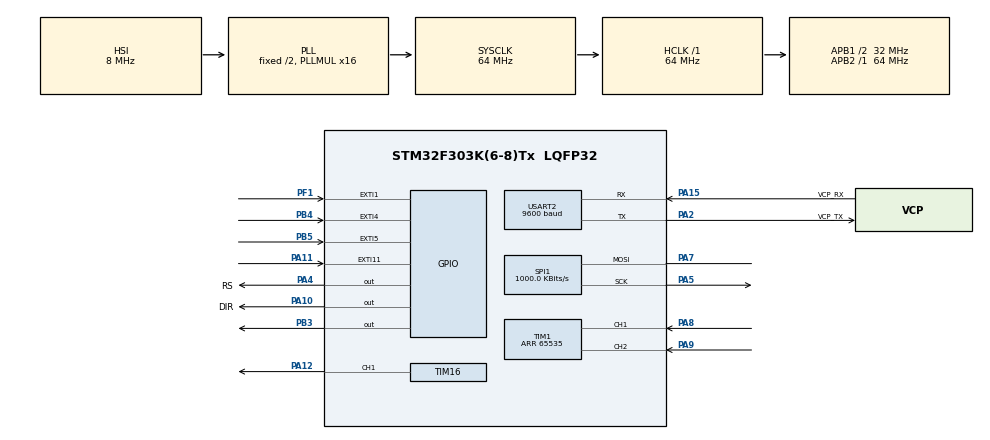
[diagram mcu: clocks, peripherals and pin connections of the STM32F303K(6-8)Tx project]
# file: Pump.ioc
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Mcu.Family=STM32F3
Mcu.Name=STM32F303K(6-8)Tx
Mcu.Package=LQFP32
NVIC.EXTI15_10_IRQn=true\:0\:0\:false\:false\:true\:true
NVIC.EXTI1_IRQn=true\:0\:0\:false\:false\:true\:true
NVIC.EXTI4_IRQn=true\:0\:0\:false\:false\:true\:true
NVIC.EXTI9_5_IRQn=true\:0\:0\:false\:false\:true\:true
NVIC.PriorityGroup=NVIC_PRIORITYGROUP_4
NVIC.TIM1_BRK_TIM15_IRQn=true\:0\:0\:false\:false\:true\:true
NVIC.TIM1_TRG_COM_TIM17_IRQn=true\:0\:0\:false\:false\:true\:true
NVIC.TIM2_IRQn=true\:0\:0\:false\:false\:true\:true
NVIC.TIM3_IRQn=true\:0\:0\:false\:false\:true\:true
PA10.GPIO_Label=DIR
PA10.GPIO_ModeDefaultOutputPP=GPIO_MODE_OUTPUT_PP
PA10.GPIO_PuPd=GPIO_PULLDOWN
PA10.GPIO_Speed=GPIO_SPEED_FREQ_HIGH
PA10.PinState=GPIO_PIN_RESET
PA10.Signal=GPIO_Output
PA11.GPIO_ModeDefaultEXTI=GPIO_MODE_IT_FALLING
PA11.GPIO_PuPd=GPIO_PULLUP
PA11.Signal=GPXTI11
PA12.GPIO_Speed=GPIO_SPEED_FREQ_HIGH
PA12.Signal=S_TIM16_CH1
PA13.GPIO_Label=SWDIO
PA13.Mode=Serial_Wire
PA13.Signal=SYS_JTMS-SWDIO
PA14.GPIO_Label=SWCLK
PA14.Mode=Serial_Wire
PA14.Signal=SYS_JTCK-SWCLK
PA15.GPIO_Label=VCP_RX
PA15.Mode=Asynchronous
PA15.Signal=USART2_RX
PA2.GPIO_Label=VCP_TX
PA2.Mode=Asynchronous
PA2.Signal=USART2_TX
PA4.GPIO_Label=RS
PA4.GPIO_Speed=GPIO_SPEED_FREQ_HIGH
PA4.Signal=GPIO_Output
PA5.GPIO_PuPd=GPIO_PULLUP
PA5.GPIO_Speed=GPIO_SPEED_FREQ_HIGH
PA5.Mode=Simplex_Bidirectional_Master
PA5.Signal=SPI1_SCK
PA7.GPIO_PuPd=GPIO_PULLUP
PA7.Mode=Simplex_Bidirectional_Master
PA7.Signal=SPI1_MOSI
PA8.Signal=S_TIM1_CH1
PA9.Signal=S_TIM1_CH2
PB3.GPIO_Speed=GPIO_SPEED_FREQ_HIGH
PB3.Signal=GPIO_Output
PB4.GPIO_ModeDefaultEXTI=GPIO_MODE_IT_RISING_FALLING
PB4.GPIO_PuPd=GPIO_PULLUP
PB4.Signal=GPXTI4
PB5.GPIO_ModeDefaultEXTI=GPIO_MODE_IT_RISING_FALLING
PB5.GPIO_PuPd=GPIO_PULLUP
PB5.Signal=GPXTI5
PF0\ /\ OSC_IN.GPIO_Label=MCO
PF0\ /\ OSC_IN.Signal=RCC_OSC_IN
PF1\ /\ OSC_OUT.GPIO_ModeDefaultEXTI=GPIO_MODE_IT_FALLING
PF1\ /\ OSC_OUT.GPIO_PuPd=GPIO_PULLUP
PF1\ /\ OSC_OUT.Signal=GPXTI1
ProjectManager.HeapSize=0x200
ProjectManager.StackSize=0x400
ProjectManager.TargetToolchain=MDK-ARM V5
RCC.AHBFreq_Value=64000000
RCC.APB1CLKDivider=RCC_HCLK_DIV2
RCC.APB1Freq_Value=32000000
RCC.APB1TimFreq_Value=64000000
RCC.APB2Freq_Value=64000000
RCC.APB2TimFreq_Value=64000000
RCC.CortexFreq_Value=64000000
RCC.HCLKFreq_Value=64000000
RCC.HSE_VALUE=8000000
RCC.HSI_VALUE=8000000
RCC.PLLMUL=RCC_PLL_MUL16
RCC.SYSCLKFreq_VALUE=64000000
RCC.SYSCLKSourceVirtual=RCC_SYSCLKSOURCE_PLLCLK
SH.S_TIM16_CH1.0=TIM16_CH1,PWM Generation1 CH1
SH.S_TIM1_CH1.0=TIM1_CH1,Encoder_Interface
SH.S_TIM1_CH2.0=TIM1_CH2,Encoder_Interface
SPI1.BaudRatePrescaler=SPI_BAUDRATEPRESCALER_64
SPI1.CalculateBaudRate=1000.0 KBits/s
SPI1.DataSize=SPI_DATASIZE_8BIT
SPI1.Direction=SPI_DIRECTION_1LINE
SPI1.Mode=SPI_MODE_MASTER
SPI1.VirtualType=VM_MASTER
TIM1.EncoderMode=TIM_ENCODERMODE_TI12
TIM1.IC1Filter=15
TIM1.IC2Filter=15
TIM1.Period=65535
TIM15.Period=799
TIM15.Prescaler=63999
TIM16.Channel=TIM_CHANNEL_1
TIM16.Period=2047
TIM17.Period=199
TIM17.Prescaler=63999
TIM2.Period=9999
TIM2.Prescaler=63
TIM3.Period=9999
TIM3.Prescaler=63
USART2.BaudRate=9600
USART2.VirtualMode-Asynchronous=VM_ASYNC
VP_TIM15_VS_ClockSourceINT.Mode=Internal
VP_TIM16_VS_ClockSourceINT.Mode=Enable_Timer
VP_TIM17_VS_ClockSourceINT.Mode=Enable_Timer
VP_TIM2_VS_ClockSourceINT.Mode=Internal
VP_TIM3_VS_ClockSourceINT.Mode=Internal
board=NUCLEO-F303K8

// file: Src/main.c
/**
  ******************************************************************************
  * @file           : main.c
  * @brief          : Main program body
  ******************************************************************************
  ** This notice applies to any and all portions of this file
  * that are not between comment pairs USER CODE BEGIN and
  * USER CODE END. Other portions of this file, whether
  * inserted by the user or by software development tools
  * are owned by their respective copyright owners.
  *
  * COPYRIGHT(c) 2018 STMicroelectronics
  *
  * Redistribution and use in source and binary forms, with or without modification,
  * are permitted provided that the following conditions are met:
  *   1. Redistributions of source code must retain the above copyright notice,
  *      this list of conditions and the following disclaimer.
  *   2. Redistributions in binary form must reproduce the above copyright notice,
  *      this list of conditions and the following disclaimer in the documentation
  *      and/or other materials provided with the distribution.
  *   3. Neither the name of STMicroelectronics nor the names of its contributors
  *      may be used to endorse or promote products derived from this software
  *      without specific prior written permission.
  *
  * THIS SOFTWARE IS PROVIDED BY THE COPYRIGHT HOLDERS AND CONTRIBUTORS "AS IS"
  * AND ANY EXPRESS OR IMPLIED WARRANTIES, INCLUDING, BUT NOT LIMITED TO, THE
  * IMPLIED WARRANTIES OF MERCHANTABILITY AND FITNESS FOR A PARTICULAR PURPOSE ARE
  * DISCLAIMED. IN NO EVENT SHALL THE COPYRIGHT HOLDER OR CONTRIBUTORS BE LIABLE
  * FOR ANY DIRECT, INDIRECT, INCIDENTAL, SPECIAL, EXEMPLARY, OR CONSEQUENTIAL
  * DAMAGES (INCLUDING, BUT NOT LIMITED TO, PROCUREMENT OF SUBSTITUTE GOODS OR
  * SERVICES; LOSS OF USE, DATA, OR PROFITS; OR BUSINESS INTERRUPTION) HOWEVER
  * CAUSED AND ON ANY THEORY OF LIABILITY, WHETHER IN CONTRACT, STRICT LIABILITY,
  * OR TORT (INCLUDING NEGLIGENCE OR OTHERWISE) ARISING IN ANY WAY OUT OF THE USE
  * OF THIS SOFTWARE, EVEN IF ADVISED OF THE POSSIBILITY OF SUCH DAMAGE.
  *
  ******************************************************************************
  */
#include "main.h"
#include "stm32f3xx_hal.h"

/* USER CODE BEGIN Includes */
#include <stdlib.h>
#include <string.h>
#include "LCD.h"
#include "dwt_stm32_delay.h"
#include <stdbool.h>

/* USER CODE END Includes */

SPI_HandleTypeDef hspi1;

TIM_HandleTypeDef htim1;
TIM_HandleTypeDef htim2;
TIM_HandleTypeDef htim3;
TIM_HandleTypeDef htim15;
TIM_HandleTypeDef htim16;
TIM_HandleTypeDef htim17;

UART_HandleTypeDef huart2;

/* USER CODE BEGIN PV */
/* Private variables ---------------------------------------------------------*/
#define encodingType 4.0f //Quadrature Encoding
#define encoderPulsePerRev 100.0f
#define RPMCalculationFreq 100.0f

#define refRpmLowerThreshold 0.0f
#define refRpmUpperThreshold 10000.0f
#define refRpmResolution 100.0f

#define voltageLowerThreshold 0.0f
#define voltageUpperThreshold 24.0f
#define voltageResolution 0.1f

#define pwmResolution 2048

#define debounceMillis 200

LCD * lcd;

/*******************************************************************************
    RPM Resolution per encoder tick
        (Encoder tick/sec) to RPM

                        60sec * (Frequency of RPM calculation timer)
    RPM_res_per_tick = ----------------------------------------------
                        Encoder Resolution * Encoder Reading Mode(x4)
*******************************************************************************/
#define RPM_res_per_tick (60.0f * RPMCalculationFreq) / (encoderPulsePerRev * encodingType)

// RPM Calculation
volatile int16_t prevEncoderCount = 0;
volatile float motorRPM = 0.0f;

//Moving Average for RPM smoothing
volatile float averagedMotorRpm = 0.0f;
volatile float alpha = 0.128f;

// Voltage Control
volatile float voltage = 0.0f;

// PI Control
volatile float Kp = 0.02f;
volatile float Ki = 0.01f;
volatile float integral = 0.0f;
volatile float integralMin = -2000.0f;
volatile float integralMax = 2000.0f;

volatile float refRpm = 0.0f;

//Flow Rate
volatile float flowRate = 0.0f;

//Display Selection
volatile float displayedRefRpm = 0.0f;
volatile float displayedVoltage = 0.0f;

// Rotary Knob
volatile uint8_t prevState = 0;
volatile int16_t cycleCount = 0;

//Debouncing
uint32_t currentMillis = 0;
uint32_t prevMillis = 0;

int pwm = 0;

const int cw[4] = {
			  2, // 10 -> 11
			  0, // 00 -> 10
			  3, // 11 -> 01
			  1  // 01 -> 00
			};

const int ccw[4] = {
			  1, // 01 -> 11
			  3, // 11 -> 10
			  0, // 00 -> 01
			  2  // 10 -> 00
			};

// Screen Menu Button Track - Select and Deselect
uint8_t selected = false;

// Underline of "Ref RPM"
uint8_t underlineHighlighted = false;

// Menu
enum menu{
	Logo,
	ControlSelection,
	RpmControl,
	VoltageControl,
	About
};

enum menu menuSelection = Logo;

/* USER CODE END PV */

void SystemClock_Config(void);
static void MX_GPIO_Init(void);
static void MX_USART2_UART_Init(void);
static void MX_TIM1_Init(void);
static void MX_TIM16_Init(void);
static void MX_TIM2_Init(void);
static void MX_SPI1_Init(void);
static void MX_TIM17_Init(void);
static void MX_TIM15_Init(void);
static void MX_TIM3_Init(void);

void HAL_TIM_MspPostInit(TIM_HandleTypeDef *htim);

/* USER CODE BEGIN PFP */
/* Private function prototypes -----------------------------------------------*/

/* USER CODE END PFP */

/* USER CODE BEGIN 0 */

void applyPWM(int16_t pwmValue){
	pwm = pwmValue;
	//Forward
	if(pwmValue > 0){
		if(pwmValue > pwmResolution)
			pwmValue = pwmResolution;
		HAL_GPIO_WritePin(GPIOA, GPIO_PIN_10, GPIO_PIN_RESET);
	}
	//Backward
	else{
		if(pwmValue < -pwmResolution)
			pwmValue = -pwmResolution;
		HAL_GPIO_WritePin(GPIOA, GPIO_PIN_10, GPIO_PIN_SET);
	}
	pwmValue = abs(pwmValue);
	__HAL_TIM_SET_COMPARE(&htim16, TIM_CHANNEL_1, pwmValue);
}

// Increase Displayed Reference RPM
void incrementDisplayedRefRPM(void){
	if(displayedRefRpm < refRpmUpperThreshold)
		displayedRefRpm += refRpmResolution;
}

// Decrease Displayed Reference RPM
void decreaseDisplayedRefRPM(void){
	if(refRpmLowerThreshold < displayedRefRpm)
		displayedRefRpm -= refRpmResolution;
}

// Increase Displayed Voltage
void incrementDisplayedVoltage(void){
	if(displayedVoltage < voltageUpperThreshold)
		displayedVoltage += voltageResolution;
}

// Decrease Displayed Voltage
void decreaseDisplayedVoltage(void){
	if(voltageLowerThreshold < displayedVoltage)
		displayedVoltage -= voltageResolution;
}

//Count the Digits before .
uint8_t digitsInFloat(unsigned char * f){
	uint8_t i = 0;
	uint8_t digitCount = 0;
	while(f[i++] != '.'){
		digitCount++;
	}
	return digitCount;
}

//Refresh Numbers on the screen
void refreshScreen(void){
	//Clear Second Row - Fill with Spaces
	DisplayStringLeftAlligned(lcd,1,0, (unsigned char *)"                ", strlen("                "));
	//Clear Fourth Rows First Half - Fill with Spaces
	DisplayStringLeftAlligned(lcd,3,0, (unsigned char *)"        ", strlen("        "));

	unsigned char * array = malloc(16);

	if(menuSelection == RpmControl){
		if(selected == true)
			sprintf((char *)array, "%.1f", displayedRefRpm);
		else if(selected == false)
			sprintf((char *)array, "%.1f", refRpm);
	}
	else if(menuSelection == VoltageControl){
		if(selected == true){
			sprintf((char *)array, "%.1f", displayedVoltage);
		}
		else if(selected == false){
			sprintf((char *)array, "%.1f", voltage);
		}
	}

	uint8_t digitCount = digitsInFloat(array);

	// Display Reference RPM
	DisplayStringRightAlligned(lcd,1,6, array, digitsInFloat(array)+2);

	free(array);

	// RPM
	unsigned char * rpmStr = malloc(16); //16 digits max
	sprintf((char *)rpmStr, "%.1f", averagedMotorRpm);
	DisplayStringRightAlligned(lcd,1,15, rpmStr, digitsInFloat(rpmStr)+2);
	free(rpmStr);

	// Flow Rate
	unsigned char * flowRateStr = malloc(16);
	sprintf((char *)flowRateStr, "%.1f", flowRate);
	DisplayStringRightAlligned(lcd,3,7, flowRateStr, digitsInFloat(flowRateStr)+2);
	free(flowRateStr);
}

// Display underline of Ref RPM
void underlineHighlight(void){
	WriteInstruction(lcd, SET_GRAPHIC_RAM_ADDRESS | 29);
	WriteInstruction(lcd, 0x80);
	WriteRam(lcd, 0x7F);
	WriteRam(lcd, 0xFF);
	WriteRam(lcd, 0xFF);
	WriteRam(lcd, 0xFF);
	WriteRam(lcd, 0xFF);
	WriteRam(lcd, 0xFF);
	WriteRam(lcd, 0xFF);
}

// Hide underline of Ref RPM
void underlineLowlight(void){
	WriteInstruction(lcd, SET_GRAPHIC_RAM_ADDRESS | 29);
	WriteInstruction(lcd, 0x80);
	WriteRam(lcd, 0x00);
	WriteRam(lcd, 0x00);
	WriteRam(lcd, 0x00);
	WriteRam(lcd, 0x00);
	WriteRam(lcd, 0x00);
	WriteRam(lcd, 0x00);
	WriteRam(lcd, 0x00);
}

// Display Logo

// Display ControlSelection
uint8_t menuIndex = 0;

void menuControlSelection(void){
	menuSelection = ControlSelection;

	SetTextMode(lcd);
	ClearScreen(lcd);

	SetGraphicsMode(lcd);
	ClearGDRAM(lcd);

	for(uint8_t y = 0; y < 15; y++){
		for (uint8_t x = 0; x < 8; x++) {
			WriteInstruction(lcd, SET_GRAPHIC_RAM_ADDRESS | y);
			WriteInstruction(lcd, 0x80 | x);
			WriteRam(lcd, 0xFF);
			WriteRam(lcd, 0xFF);
		}
	}

	menuIndex = 1;
	HighlightMenuItem(lcd,menuIndex,true);

	SetTextMode(lcd);
	//ClearScreen(lcd);

	DisplayStringLeftAlligned(lcd,0,1, (unsigned char *)"MOTION MANAGER", strlen("MOTION MANAGER"));
	DisplayStringLeftAlligned(lcd,1,1, (unsigned char *)"RPM Control", strlen("RPM Control"));
	DisplayStringLeftAlligned(lcd,2,1, (unsigned char *)"Voltage Control", strlen("Voltage Control"));
	DisplayStringLeftAlligned(lcd,3,1, (unsigned char *)"About", strlen("About"));
}

void menuRpmControl(void){
	SetTextMode(lcd);
	ClearScreen(lcd);

	//TIM1 - Encoder
	HAL_TIM_Encoder_Start(&htim1, TIM_CHANNEL_ALL);

	//TIM2 - Velocity Calculation Interrupt
	HAL_TIM_Base_Start_IT(&htim2);

	//TIM16 - PWM
	HAL_TIM_PWM_Start(&htim16, TIM_CHANNEL_1);

	// Topic Background
	SetGraphicsMode(lcd);
	ClearGDRAM(lcd);

	DivideHalfInverseT(lcd);
	HighlightTopLeftText(lcd);
	HighlightTopRightText(lcd);
	HighlightBottomText(lcd);

	// Topics
	SetTextMode(lcd);

	DisplayStringLeftAlligned(lcd,0,0, (unsigned char *)"Ref RPM", strlen("Ref RPM"));
	DisplayStringLeftAlligned(lcd,0,9, (unsigned char *)"RPM", strlen("RPM"));
	DisplayStringLeftAlligned(lcd,2,0, (unsigned char *)"Flow Rate", strlen("Flow Rate"));
	DisplayStringRightAlligned(lcd,3,14, (unsigned char *)"ml/min", strlen("ml/min"));

	//TIM17 - Screen Refresh Rate - 64Mhz / 64000 / 99 = 10Hz
	HAL_TIM_Base_Start_IT(&htim17);
}

void menuVoltageControl(void){
	SetTextMode(lcd);
	ClearScreen(lcd);

	//TIM1 - Encoder
	HAL_TIM_Encoder_Start(&htim1, TIM_CHANNEL_ALL);

	//TIM2 - Velocity Calculation Interrupt
	HAL_TIM_Base_Start_IT(&htim2);

	//TIM16 - PWM
	HAL_TIM_PWM_Start(&htim16, TIM_CHANNEL_1);

	// Topic Background
	SetGraphicsMode(lcd);
	ClearGDRAM(lcd);

	DivideHalfInverseT(lcd);
	HighlightTopLeftText(lcd);
	HighlightTopRightText(lcd);
	HighlightBottomText(lcd);

	// Topics
	SetTextMode(lcd);

	DisplayStringLeftAlligned(lcd,0,0, (unsigned char *)"Voltage", strlen("Voltage"));
	DisplayStringLeftAlligned(lcd,0,9, (unsigned char *)"RPM", strlen("RPM"));
	DisplayStringLeftAlligned(lcd,2,0, (unsigned char *)"Flow Rate", strlen("Flow Rate"));
	DisplayStringRightAlligned(lcd,3,14, (unsigned char *)"ml/min", strlen("ml/min"));

	//TIM17 - Screen Refresh Rate - 64Mhz / 64000 / 99 = 10Hz
	HAL_TIM_Base_Start_IT(&htim17);
}

void menuAbout(){
	SetTextMode(lcd);
	ClearScreen(lcd);

	SetGraphicsMode(lcd);
	ClearGDRAM(lcd);

	SetTextMode(lcd);
	DisplayStringLeftAlligned(lcd,0,0, (unsigned char *)"info@", strlen("info@"));
	DisplayStringLeftAlligned(lcd,1,0, (unsigned char *)"kopernikrobotics", strlen("KopernikRobotics"));
	DisplayStringRightAlligned(lcd,2,15, (unsigned char *)".com", strlen(".com"));
	DisplayStringLeftAlligned(lcd,3,0, (unsigned char *)"v1.0.0", strlen("v1.0.0"));
}

void setVoltage(){
	pwm = (((float)voltage)/((float)voltageUpperThreshold)) * ((float)pwmResolution);
	__HAL_TIM_SET_COMPARE(&htim16, TIM_CHANNEL_1, (int)pwm);
}

/* USER CODE END 0 */

int main(void)
{

  /* MCU Configuration----------------------------------------------------------*/

  /* Reset of all peripherals, Initializes the Flash interface and the Systick. */
  HAL_Init();

  /* Configure the system clock */
  SystemClock_Config();

  /* Initialize all configured peripherals */
  MX_GPIO_Init();
  MX_USART2_UART_Init();
  MX_TIM1_Init();
  MX_TIM16_Init();
  MX_TIM2_Init();
  MX_SPI1_Init();
  MX_TIM17_Init();
  MX_TIM15_Init();
  MX_TIM3_Init();
  /* USER CODE BEGIN 2 */

	DWT_Delay_Init();

	//TIM1 - Encoder
	//HAL_TIM_Encoder_Start(&htim1, TIM_CHANNEL_ALL);

	//TIM16 - PWM
	//HAL_TIM_PWM_Start(&htim16, TIM_CHANNEL_1);

	// LCD
	// For a minimal system with only one ST7920 and one MPU, only SCLK and SID pins are necessary.
	// CS pin should pull to high.
	HAL_GPIO_WritePin(GPIOA, GPIO_PIN_4, GPIO_PIN_SET);

	lcd = (struct LCD *)malloc(sizeof(struct LCD));

	InitLcdSPI(lcd, &hspi1);

	InitDisplay(lcd);

	menuControlSelection();

	__HAL_TIM_SET_COMPARE(&htim16, TIM_CHANNEL_1, 0);

  /* USER CODE END 2 */

  /* Infinite loop */
  while (1)
  {

  /* USER CODE BEGIN 3 */
		//HAL_GPIO_TogglePin(GPIOB, GPIO_PIN_3);
		//HAL_Delay(100);

  }
  /* USER CODE END 3 */

}

void SystemClock_Config(void)
{

  RCC_OscInitTypeDef RCC_OscInitStruct;
  RCC_ClkInitTypeDef RCC_ClkInitStruct;
  RCC_PeriphCLKInitTypeDef PeriphClkInit;

    /**Initializes the CPU, AHB and APB busses clocks
    */
  RCC_OscInitStruct.OscillatorType = RCC_OSCILLATORTYPE_HSI;
  RCC_OscInitStruct.HSIState = RCC_HSI_ON;
  RCC_OscInitStruct.HSICalibrationValue = 16;
  RCC_OscInitStruct.PLL.PLLState = RCC_PLL_ON;
  RCC_OscInitStruct.PLL.PLLSource = RCC_PLLSOURCE_HSI;
  RCC_OscInitStruct.PLL.PLLMUL = RCC_PLL_MUL16;
  if (HAL_RCC_OscConfig(&RCC_OscInitStruct) != HAL_OK)
  {
    _Error_Handler(__FILE__, __LINE__);
  }

    /**Initializes the CPU, AHB and APB busses clocks
    */
  RCC_ClkInitStruct.ClockType = RCC_CLOCKTYPE_HCLK|RCC_CLOCKTYPE_SYSCLK
                              |RCC_CLOCKTYPE_PCLK1|RCC_CLOCKTYPE_PCLK2;
  RCC_ClkInitStruct.SYSCLKSource = RCC_SYSCLKSOURCE_PLLCLK;
  RCC_ClkInitStruct.AHBCLKDivider = RCC_SYSCLK_DIV1;
  RCC_ClkInitStruct.APB1CLKDivider = RCC_HCLK_DIV2;
  RCC_ClkInitStruct.APB2CLKDivider = RCC_HCLK_DIV1;

  if (HAL_RCC_ClockConfig(&RCC_ClkInitStruct, FLASH_LATENCY_2) != HAL_OK)
  {
    _Error_Handler(__FILE__, __LINE__);
  }

  PeriphClkInit.PeriphClockSelection = RCC_PERIPHCLK_TIM1;
  PeriphClkInit.Tim1ClockSelection = RCC_TIM1CLK_HCLK;
  if (HAL_RCCEx_PeriphCLKConfig(&PeriphClkInit) != HAL_OK)
  {
    _Error_Handler(__FILE__, __LINE__);
  }

    /**Configure the Systick interrupt time
    */
  HAL_SYSTICK_Config(HAL_RCC_GetHCLKFreq()/1000);

    /**Configure the Systick
    */
  HAL_SYSTICK_CLKSourceConfig(SYSTICK_CLKSOURCE_HCLK);

  /* SysTick_IRQn interrupt configuration */
  HAL_NVIC_SetPriority(SysTick_IRQn, 0, 0);
}

/* SPI1 init function */
static void MX_SPI1_Init(void)
{

  /* SPI1 parameter configuration*/
  hspi1.Instance = SPI1;
  hspi1.Init.Mode = SPI_MODE_MASTER;
  hspi1.Init.Direction = SPI_DIRECTION_1LINE;
  hspi1.Init.DataSize = SPI_DATASIZE_8BIT;
  hspi1.Init.CLKPolarity = SPI_POLARITY_LOW;
  hspi1.Init.CLKPhase = SPI_PHASE_1EDGE;
  hspi1.Init.NSS = SPI_NSS_SOFT;
  hspi1.Init.BaudRatePrescaler = SPI_BAUDRATEPRESCALER_64;
  hspi1.Init.FirstBit = SPI_FIRSTBIT_MSB;
  hspi1.Init.TIMode = SPI_TIMODE_DISABLE;
  hspi1.Init.CRCCalculation = SPI_CRCCALCULATION_DISABLE;
  hspi1.Init.CRCPolynomial = 7;
  hspi1.Init.CRCLength = SPI_CRC_LENGTH_DATASIZE;
  hspi1.Init.NSSPMode = SPI_NSS_PULSE_ENABLE;
  if (HAL_SPI_Init(&hspi1) != HAL_OK)
  {
    _Error_Handler(__FILE__, __LINE__);
  }

}

/* TIM1 init function */
static void MX_TIM1_Init(void)
{

  TIM_Encoder_InitTypeDef sConfig;
  TIM_MasterConfigTypeDef sMasterConfig;

  htim1.Instance = TIM1;
  htim1.Init.Prescaler = 0;
  htim1.Init.CounterMode = TIM_COUNTERMODE_UP;
  htim1.Init.Period = 65535;
  htim1.Init.ClockDivision = TIM_CLOCKDIVISION_DIV1;
  htim1.Init.RepetitionCounter = 0;
  htim1.Init.AutoReloadPreload = TIM_AUTORELOAD_PRELOAD_DISABLE;
  sConfig.EncoderMode = TIM_ENCODERMODE_TI12;
  sConfig.IC1Polarity = TIM_ICPOLARITY_RISING;
  sConfig.IC1Selection = TIM_ICSELECTION_DIRECTTI;
  sConfig.IC1Prescaler = TIM_ICPSC_DIV1;
  sConfig.IC1Filter = 15;
  sConfig.IC2Polarity = TIM_ICPOLARITY_RISING;
  sConfig.IC2Selection = TIM_ICSELECTION_DIRECTTI;
  sConfig.IC2Prescaler = TIM_ICPSC_DIV1;
  sConfig.IC2Filter = 15;
  if (HAL_TIM_Encoder_Init(&htim1, &sConfig) != HAL_OK)
  {
    _Error_Handler(__FILE__, __LINE__);
  }

  sMasterConfig.MasterOutputTrigger = TIM_TRGO_RESET;
  sMasterConfig.MasterOutputTrigger2 = TIM_TRGO2_RESET;
  sMasterConfig.MasterSlaveMode = TIM_MASTERSLAVEMODE_DISABLE;
  if (HAL_TIMEx_MasterConfigSynchronization(&htim1, &sMasterConfig) != HAL_OK)
  {
    _Error_Handler(__FILE__, __LINE__);
  }

}

/* TIM2 init function */
static void MX_TIM2_Init(void)
{

  TIM_ClockConfigTypeDef sClockSourceConfig;
  TIM_MasterConfigTypeDef sMasterConfig;

  htim2.Instance = TIM2;
  htim2.Init.Prescaler = 63;
  htim2.Init.CounterMode = TIM_COUNTERMODE_UP;
  htim2.Init.Period = 9999;
  htim2.Init.ClockDivision = TIM_CLOCKDIVISION_DIV1;
  htim2.Init.AutoReloadPreload = TIM_AUTORELOAD_PRELOAD_DISABLE;
  if (HAL_TIM_Base_Init(&htim2) != HAL_OK)
  {
    _Error_Handler(__FILE__, __LINE__);
  }

  sClockSourceConfig.ClockSource = TIM_CLOCKSOURCE_INTERNAL;
  if (HAL_TIM_ConfigClockSource(&htim2, &sClockSourceConfig) != HAL_OK)
  {
    _Error_Handler(__FILE__, __LINE__);
  }

  sMasterConfig.MasterOutputTrigger = TIM_TRGO_RESET;
  sMasterConfig.MasterSlaveMode = TIM_MASTERSLAVEMODE_DISABLE;
  if (HAL_TIMEx_MasterConfigSynchronization(&htim2, &sMasterConfig) != HAL_OK)
  {
    _Error_Handler(__FILE__, __LINE__);
  }

}

/* TIM3 init function */
static void MX_TIM3_Init(void)
{

  TIM_ClockConfigTypeDef sClockSourceConfig;
  TIM_MasterConfigTypeDef sMasterConfig;

  htim3.Instance = TIM3;
  htim3.Init.Prescaler = 63;
  htim3.Init.CounterMode = TIM_COUNTERMODE_UP;
  htim3.Init.Period = 9999;
  htim3.Init.ClockDivision = TIM_CLOCKDIVISION_DIV1;
  htim3.Init.AutoReloadPreload = TIM_AUTORELOAD_PRELOAD_DISABLE;
  if (HAL_TIM_Base_Init(&htim3) != HAL_OK)
  {
    _Error_Handler(__FILE__, __LINE__);
  }

  sClockSourceConfig.ClockSource = TIM_CLOCKSOURCE_INTERNAL;
  if (HAL_TIM_ConfigClockSource(&htim3, &sClockSourceConfig) != HAL_OK)
  {
    _Error_Handler(__FILE__, __LINE__);
  }

  sMasterConfig.MasterOutputTrigger = TIM_TRGO_RESET;
  sMasterConfig.MasterSlaveMode = TIM_MASTERSLAVEMODE_DISABLE;
  if (HAL_TIMEx_MasterConfigSynchronization(&htim3, &sMasterConfig) != HAL_OK)
  {
    _Error_Handler(__FILE__, __LINE__);
  }

}

/* TIM15 init function */
static void MX_TIM15_Init(void)
{

  TIM_ClockConfigTypeDef sClockSourceConfig;
  TIM_MasterConfigTypeDef sMasterConfig;

  htim15.Instance = TIM15;
  htim15.Init.Prescaler = 63999;
  htim15.Init.CounterMode = TIM_COUNTERMODE_UP;
  htim15.Init.Period = 799;
  htim15.Init.ClockDivision = TIM_CLOCKDIVISION_DIV1;
  htim15.Init.RepetitionCounter = 0;
  htim15.Init.AutoReloadPreload = TIM_AUTORELOAD_PRELOAD_DISABLE;
  if (HAL_TIM_Base_Init(&htim15) != HAL_OK)
  {
    _Error_Handler(__FILE__, __LINE__);
  }

  sClockSourceConfig.ClockSource = TIM_CLOCKSOURCE_INTERNAL;
  if (HAL_TIM_ConfigClockSource(&htim15, &sClockSourceConfig) != HAL_OK)
  {
    _Error_Handler(__FILE__, __LINE__);
  }

  sMasterConfig.MasterOutputTrigger = TIM_TRGO_RESET;
  sMasterConfig.MasterSlaveMode = TIM_MASTERSLAVEMODE_DISABLE;
  if (HAL_TIMEx_MasterConfigSynchronization(&htim15, &sMasterConfig) != HAL_OK)
  {
    _Error_Handler(__FILE__, __LINE__);
  }

}

/* TIM16 init function */
static void MX_TIM16_Init(void)
{

  TIM_OC_InitTypeDef sConfigOC;
  TIM_BreakDeadTimeConfigTypeDef sBreakDeadTimeConfig;

  htim16.Instance = TIM16;
  htim16.Init.Prescaler = 0;
  htim16.Init.CounterMode = TIM_COUNTERMODE_UP;
  htim16.Init.Period = 2047;
  htim16.Init.ClockDivision = TIM_CLOCKDIVISION_DIV1;
  htim16.Init.RepetitionCounter = 0;
  htim16.Init.AutoReloadPreload = TIM_AUTORELOAD_PRELOAD_DISABLE;
  if (HAL_TIM_Base_Init(&htim16) != HAL_OK)
  {
    _Error_Handler(__FILE__, __LINE__);
  }

  if (HAL_TIM_PWM_Init(&htim16) != HAL_OK)
  {
    _Error_Handler(__FILE__, __LINE__);
  }

  sConfigOC.OCMode = TIM_OCMODE_PWM1;
  sConfigOC.Pulse = 0;
  sConfigOC.OCPolarity = TIM_OCPOLARITY_HIGH;
  sConfigOC.OCNPolarity = TIM_OCNPOLARITY_HIGH;
  sConfigOC.OCFastMode = TIM_OCFAST_DISABLE;
  sConfigOC.OCIdleState = TIM_OCIDLESTATE_RESET;
  sConfigOC.OCNIdleState = TIM_OCNIDLESTATE_RESET;
  if (HAL_TIM_PWM_ConfigChannel(&htim16, &sConfigOC, TIM_CHANNEL_1) != HAL_OK)
  {
    _Error_Handler(__FILE__, __LINE__);
  }

  sBreakDeadTimeConfig.OffStateRunMode = TIM_OSSR_DISABLE;
  sBreakDeadTimeConfig.OffStateIDLEMode = TIM_OSSI_DISABLE;
  sBreakDeadTimeConfig.LockLevel = TIM_LOCKLEVEL_OFF;
  sBreakDeadTimeConfig.DeadTime = 0;
  sBreakDeadTimeConfig.BreakState = TIM_BREAK_DISABLE;
  sBreakDeadTimeConfig.BreakPolarity = TIM_BREAKPOLARITY_HIGH;
  sBreakDeadTimeConfig.BreakFilter = 0;
  sBreakDeadTimeConfig.AutomaticOutput = TIM_AUTOMATICOUTPUT_DISABLE;
  if (HAL_TIMEx_ConfigBreakDeadTime(&htim16, &sBreakDeadTimeConfig) != HAL_OK)
  {
    _Error_Handler(__FILE__, __LINE__);
  }

  HAL_TIM_MspPostInit(&htim16);

}

/* TIM17 init function */
static void MX_TIM17_Init(void)
{

  htim17.Instance = TIM17;
  htim17.Init.Prescaler = 63999;
  htim17.Init.CounterMode = TIM_COUNTERMODE_UP;
  htim17.Init.Period = 199;
  htim17.Init.ClockDivision = TIM_CLOCKDIVISION_DIV1;
  htim17.Init.RepetitionCounter = 0;
  htim17.Init.AutoReloadPreload = TIM_AUTORELOAD_PRELOAD_DISABLE;
  if (HAL_TIM_Base_Init(&htim17) != HAL_OK)
  {
    _Error_Handler(__FILE__, __LINE__);
  }

}

/* USART2 init function */
static void MX_USART2_UART_Init(void)
{

  huart2.Instance = USART2;
  huart2.Init.BaudRate = 9600;
  huart2.Init.WordLength = UART_WORDLENGTH_8B;
  huart2.Init.StopBits = UART_STOPBITS_1;
  huart2.Init.Parity = UART_PARITY_NONE;
  huart2.Init.Mode = UART_MODE_TX_RX;
  huart2.Init.HwFlowCtl = UART_HWCONTROL_NONE;
  huart2.Init.OverSampling = UART_OVERSAMPLING_16;
  huart2.Init.OneBitSampling = UART_ONE_BIT_SAMPLE_DISABLE;
  huart2.AdvancedInit.AdvFeatureInit = UART_ADVFEATURE_NO_INIT;
  if (HAL_UART_Init(&huart2) != HAL_OK)
  {
    _Error_Handler(__FILE__, __LINE__);
  }

}

/** Configure pins as
        * Analog
        * Input
        * Output
        * EVENT_OUT
        * EXTI
*/
static void MX_GPIO_Init(void)
{

  GPIO_InitTypeDef GPIO_InitStruct;

  /* GPIO Ports Clock Enable */
  __HAL_RCC_GPIOF_CLK_ENABLE();
  __HAL_RCC_GPIOA_CLK_ENABLE();
  __HAL_RCC_GPIOB_CLK_ENABLE();

  /*Configure GPIO pin Output Level */
  HAL_GPIO_WritePin(GPIOA, RS_Pin|DIR_Pin, GPIO_PIN_RESET);

  /*Configure GPIO pin Output Level */
  HAL_GPIO_WritePin(GPIOB, GPIO_PIN_3, GPIO_PIN_RESET);

  /*Configure GPIO pin : PF1 */
  GPIO_InitStruct.Pin = GPIO_PIN_1;
  GPIO_InitStruct.Mode = GPIO_MODE_IT_FALLING;
  GPIO_InitStruct.Pull = GPIO_PULLUP;
  HAL_GPIO_Init(GPIOF, &GPIO_InitStruct);

  /*Configure GPIO pin : RS_Pin */
  GPIO_InitStruct.Pin = RS_Pin;
  GPIO_InitStruct.Mode = GPIO_MODE_OUTPUT_PP;
  GPIO_InitStruct.Pull = GPIO_NOPULL;
  GPIO_InitStruct.Speed = GPIO_SPEED_FREQ_HIGH;
  HAL_GPIO_Init(RS_GPIO_Port, &GPIO_InitStruct);

  /*Configure GPIO pin : DIR_Pin */
  GPIO_InitStruct.Pin = DIR_Pin;
  GPIO_InitStruct.Mode = GPIO_MODE_OUTPUT_PP;
  GPIO_InitStruct.Pull = GPIO_PULLDOWN;
  GPIO_InitStruct.Speed = GPIO_SPEED_FREQ_HIGH;
  HAL_GPIO_Init(DIR_GPIO_Port, &GPIO_InitStruct);

  /*Configure GPIO pin : PA11 */
  GPIO_InitStruct.Pin = GPIO_PIN_11;
  GPIO_InitStruct.Mode = GPIO_MODE_IT_FALLING;
  GPIO_InitStruct.Pull = GPIO_PULLUP;
  HAL_GPIO_Init(GPIOA, &GPIO_InitStruct);

  /*Configure GPIO pin : PB3 */
  GPIO_InitStruct.Pin = GPIO_PIN_3;
  GPIO_InitStruct.Mode = GPIO_MODE_OUTPUT_PP;
  GPIO_InitStruct.Pull = GPIO_NOPULL;
  GPIO_InitStruct.Speed = GPIO_SPEED_FREQ_HIGH;
  HAL_GPIO_Init(GPIOB, &GPIO_InitStruct);

  /*Configure GPIO pins : PB4 PB5 */
  GPIO_InitStruct.Pin = GPIO_PIN_4|GPIO_PIN_5;
  GPIO_InitStruct.Mode = GPIO_MODE_IT_RISING_FALLING;
  GPIO_InitStruct.Pull = GPIO_PULLUP;
  HAL_GPIO_Init(GPIOB, &GPIO_InitStruct);

  /* EXTI interrupt init*/
  HAL_NVIC_SetPriority(EXTI1_IRQn, 0, 0);
  HAL_NVIC_EnableIRQ(EXTI1_IRQn);

  HAL_NVIC_SetPriority(EXTI4_IRQn, 0, 0);
  HAL_NVIC_EnableIRQ(EXTI4_IRQn);

  HAL_NVIC_SetPriority(EXTI9_5_IRQn, 0, 0);
  HAL_NVIC_EnableIRQ(EXTI9_5_IRQn);

  HAL_NVIC_SetPriority(EXTI15_10_IRQn, 0, 0);
  HAL_NVIC_EnableIRQ(EXTI15_10_IRQn);

}

/* USER CODE BEGIN 4 */

void HAL_TIM_PeriodElapsedCallback(TIM_HandleTypeDef *htim){

	// Motor Encoder
	if(htim->Instance == TIM2){
		//RPM Calculation
		int16_t encoderCount = htim1.Instance->CNT;
		int16_t deltaEncoderCount = encoderCount - prevEncoderCount;
		motorRPM = RPM_res_per_tick * (float)deltaEncoderCount;
		prevEncoderCount = encoderCount;

		//A little Moving Average for RPM since resolution is 15RPM
		averagedMotorRpm = (alpha * motorRPM) + (1 - alpha) * averagedMotorRpm;

		if(menuSelection == RpmControl){
			//Simple PI Control Implementation
			float rpmError = refRpm - averagedMotorRpm;

			//Compute Integral
			integral = integral + Ki * rpmError;

			//Compare Integral
			if(integral > integralMax)
				integral = integralMax;
			else if(integral < integralMin)
				integral = integralMin;

			//Compute PI
			float out = Kp * rpmError + integral;
			applyPWM((int16_t)out);
		}
	}

	if(htim->Instance == TIM15){

		SetGraphicsMode(lcd);

		underlineHighlight();

		if(underlineHighlighted == false){
			underlineHighlight();
			underlineHighlighted = true;
		}
		else{
			underlineLowlight();
			underlineHighlighted = false;
		}

		SetTextMode(lcd);
	}

	if(htim->Instance == TIM17){
		refreshScreen();
	}

}

/*
void HAL_TIM_IC_CaptureCallback(TIM_HandleTypeDef *htim){
	if(htim->Instance == TIM17){
		refreshScreen();
	}
}
*/

void HAL_GPIO_EXTI_Callback(uint16_t GPIO_Pin){

	// https://github.com/micheljansen/arduino-rotary-knob
	// Knob Encoder - PB4 PB5
	if((selected == true) || (menuSelection == ControlSelection)){ // If "Set Ref RPM" seleccted
		if((GPIO_Pin == GPIO_PIN_4) || (GPIO_Pin == GPIO_PIN_5)){
			uint8_t a = HAL_GPIO_ReadPin(GPIOB, GPIO_PIN_4);
			uint8_t b = HAL_GPIO_ReadPin(GPIOB, GPIO_PIN_5);

			uint8_t state = (a << 1 | b);

			if(state != prevState){
				if(state == cw[prevState]) {
					// going forward
					cycleCount++;

				}
				else if(state == ccw[prevState]) {
					// going backward
					cycleCount--;
				}

				if(state == 3) {
					if(cycleCount > 0) {
						//HAL_UART_Transmit(&huart2, (uint8_t *)"+++++\r\n", 3, HAL_MAX_DELAY);
						if(menuSelection == RpmControl)
							incrementDisplayedRefRPM();

						else if(menuSelection == VoltageControl)
							incrementDisplayedVoltage();

						else if(menuSelection == ControlSelection)
						{
							SetGraphicsMode(lcd);
							menuIndex++;
							menuIndex = (menuIndex%4);

							if(menuIndex == 0)
									menuIndex++;

							if(menuIndex == 1)
								HighlightMenuItem(lcd, 3, false);
							else
								HighlightMenuItem(lcd, menuIndex - 1, false);
							HighlightMenuItem(lcd, menuIndex, true);
							//SetTextMode(lcd);
						}
						//count++;
						//direction = 1;
					}
					else if(cycleCount < 0) {
						if(menuSelection == RpmControl)
							decreaseDisplayedRefRPM();

						else if(menuSelection == VoltageControl)
							decreaseDisplayedVoltage();

						else if(menuSelection == ControlSelection)
						{
							SetGraphicsMode(lcd);
							menuIndex--;
							menuIndex = (menuIndex%4);

							if(menuIndex == 0)
									menuIndex = 3;

							if(menuIndex == 3)
								HighlightMenuItem(lcd, 1, false);
							else
								HighlightMenuItem(lcd, menuIndex + 1, false);
							HighlightMenuItem(lcd, menuIndex, true);
							//SetTextMode(lcd);
						}
						//count--;
						//direction = -1;
					}
					cycleCount = 0;
				}

				prevState = state;
			}
		}
	}

	// Knob Select Button - PA11
	currentMillis = HAL_GetTick();
	if(currentMillis - prevMillis > debounceMillis){
		if(GPIO_Pin == GPIO_PIN_11){
			if(menuSelection == ControlSelection){
				switch (menuIndex){
					case 1:	//RPM Control
						menuSelection = RpmControl;
						menuRpmControl();
						break;
					case 2: //Voltage Control
						menuSelection = VoltageControl;
						menuVoltageControl();
						break;
					case 3: //About
						menuSelection = About;
						menuAbout();
						break;
				}
			}

			else if(menuSelection == RpmControl){
				// "Set Ref RPM" Selected
				// First time selected (to set new rpm)
				if(selected == false){
					selected = true;
					displayedRefRpm = refRpm;

					// Start Highlighting
					HAL_TIM_Base_Start_IT(&htim15);
				}

				// Second time selected (new rpm set)
				else if (selected == true){
					selected = false;
					refRpm = displayedRefRpm;

					// Stop Highlighting
					HAL_TIM_Base_Stop_IT(&htim15);
					SetGraphicsMode(lcd);
					underlineHighlighted = false;
					underlineLowlight();
					SetTextMode(lcd);
				}
			}

			else if(menuSelection == VoltageControl){
				// "Set Voltage" Selected
				// First time selected (to set voltge)
				if(selected == false){
					selected = true;
					displayedVoltage = voltage;

					//Start Highlighting
					HAL_TIM_Base_Start_IT(&htim15);
				}
				else if(selected == true){
					selected = false;
					voltage = displayedVoltage;
					setVoltage();

					//Stop Highlihting
					HAL_TIM_Base_Stop_IT(&htim15);
					SetGraphicsMode(lcd);
					underlineHighlighted = false;
					underlineLowlight();
					SetTextMode(lcd);
				}
			}

			else if (menuSelection == About){
				__NOP; //Knob does not do anything
			}
		}

		// Stop/Back Button - PF1
		if(GPIO_Pin == GPIO_PIN_1){
			if(menuSelection == ControlSelection){
				__NOP;
			}
			else if((menuSelection == RpmControl) || (menuSelection == VoltageControl)){
				if(selected == true){
					selected = false;
					HAL_TIM_Base_Stop_IT(&htim15);

					// Exit selection
					if(underlineHighlighted == true){
						SetGraphicsMode(lcd);
						underlineHighlighted = false;
						underlineLowlight();
						SetTextMode(lcd);
					}
				}
				else if (selected == false){
					//Stop RPM Control Loop
					HAL_TIM_Base_Stop_IT(&htim2);
					//Stop Refreshing Page
					HAL_TIM_Base_Stop_IT(&htim17);
					menuSelection = ControlSelection;
					menuControlSelection();

					// Zero Everthing
					voltage = 0;
					displayedVoltage = 0;
					refRpm = 0;
					displayedRefRpm = 0;
					motorRPM = 0;
					averagedMotorRpm = 0;
					pwm = 0;
					integral = 0;
					prevEncoderCount = 0;
					htim1.Instance->CNT = 0;	//Zero Encoder Count

					//TIM1 - Encoder
					HAL_TIM_Encoder_Stop(&htim1, TIM_CHANNEL_ALL);

					//TIM2 - Velocity Calculation Interrupt
					HAL_TIM_Base_Stop_IT(&htim2);

					// Set PWM to 0
					__HAL_TIM_SET_COMPARE(&htim16, TIM_CHANNEL_1, 0);

					//TIM16 - PWM
					HAL_TIM_PWM_Stop(&htim16, TIM_CHANNEL_1);
				}
			}
			else if(menuSelection == About){
				menuSelection = ControlSelection;
				menuControlSelection();
			}
		}
	}
	prevMillis = currentMillis;
}

/* USER CODE END 4 */

void _Error_Handler(char *file, int line)
{
  while(1)
  {
  }
}

/************************ (C) COPYRIGHT STMicroelectronics *****END OF FILE****/
